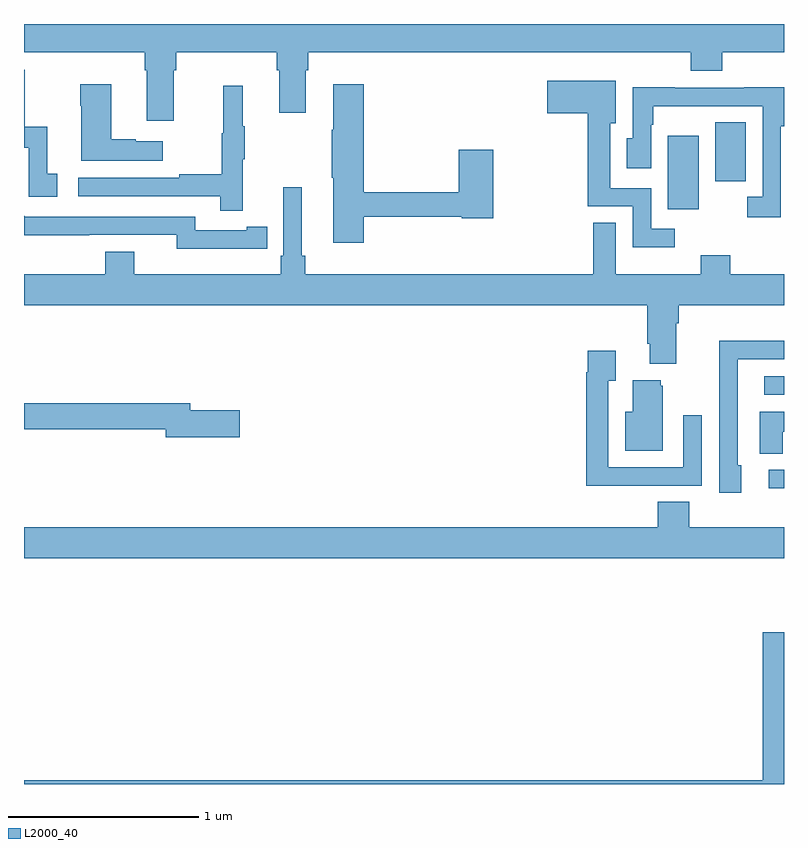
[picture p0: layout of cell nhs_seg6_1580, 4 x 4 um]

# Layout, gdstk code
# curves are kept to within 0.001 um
import gdstk
lib = gdstk.Library(unit=1e-6, precision=1e-09)
def R(c, l, rs):  # rectangles x0, y0, x1, y1
    for r in rs: c.add(gdstk.rectangle(r[:2], r[2:], *l))
def P(c, l, *ps):  # polygons
    for p in ps: c.add(gdstk.Polygon(p, *l))
L2000_40 = (2000, 40)

nhs_seg6_1580 = lib.new_cell('nhs_seg6_1580')
R(nhs_seg6_1580, L2000_40, [(210.921,929.057,211,929.154), (210.897,929.55,211,929.646), (210.389,930.524,210.55,930.913), (210.638,930.672,210.799,930.983)])
P(nhs_seg6_1580, L2000_40, [(207.787,931.256),(207.8,931.256),(207.8,931.352),(208.331,931.352),(208.331,931.256),(208.343,931.256),(208.343,931.032),(208.483,931.032),(208.483,931.256),(208.496,931.256),(208.496,931.352),(210.509,931.352),(210.509,931.253),(210.674,931.253),(210.674,931.352),(211,931.352),(211,931.5),(207,931.5),(207,931.352),(207.635,931.352),(207.635,931.256),(207.647,931.256),(207.647,930.99),(207.787,930.99)],
  [(207.175,930.711),(207.122,930.711),(207.122,930.958),(207.004,930.958),(207.004,931.26),(207,931.26),(207,930.849),(207.024,930.849),(207.024,930.591),(207.175,930.591)],
  [(210.424,930.423),(210.3,930.423),(210.3,930.636),(210.085,930.636),(210.085,930.977),(210.115,930.977),(210.115,931.201),(209.754,931.201),(209.754,931.031),(209.967,931.031),(209.967,930.54),(210.204,930.54),(210.204,930.326),(210.424,930.326)],
  [(207.73,930.883),(207.587,930.883),(207.587,930.893),(207.46,930.893),(207.46,931.183),(207.295,931.183),(207.295,931.07),(207.302,931.07),(207.302,930.779),(207.73,930.779)],
  [(208.787,930.486),(209.304,930.486),(209.304,930.478),(209.471,930.478),(209.471,930.838),(209.288,930.838),(209.288,930.614),(208.787,930.614),(208.787,931.183),(208.628,931.183),(208.628,930.944),(208.621,930.944),(208.621,930.691),(208.628,930.691),(208.628,930.348),(208.787,930.348)],
  [(208.151,930.787),(208.162,930.787),(208.162,930.961),(208.151,930.961),(208.151,931.174),(208.048,931.174),(208.048,930.924),(208.041,930.924),(208.041,930.71),(207.817,930.71),(207.817,930.69),(207.285,930.69),(207.285,930.594),(208.033,930.594),(208.033,930.516),(208.151,930.516)],
  [(210.984,930.962),(211,930.962),(211,931.166),(210.791,931.166),(210.791,931.164),(210.425,931.164),(210.425,931.166),(210.204,931.166),(210.204,930.9),(210.173,930.9),(210.173,930.741),(210.3,930.741),(210.3,930.971),(210.313,930.971),(210.313,931.067),(210.542,931.067),(210.542,931.068),(210.888,931.068),(210.888,930.591),(210.807,930.591),(210.807,930.483),(210.984,930.483)],
  [(210.433,929.924),(210.446,929.924),(210.446,930.02),(211,930.02),(211,930.184),(210.717,930.184),(210.717,930.283),(210.562,930.283),(210.562,930.184),(210.115,930.184),(210.115,930.455),(209.997,930.455),(209.997,930.184),(208.481,930.184),(208.481,930.28),(208.462,930.28),(208.462,930.64),(208.365,930.64),(208.365,930.28),(208.352,930.28),(208.352,930.184),(207.58,930.184),(207.58,930.301),(207.428,930.301),(207.428,930.184),(207,930.184),(207,930.02),(210.281,930.02),(210.281,929.818),(210.293,929.818),(210.293,929.711),(210.433,929.711)],
  [(208.172,930.318),(208.28,930.318),(208.28,930.434),(208.172,930.434),(208.172,930.414),(207.9,930.414),(207.9,930.486),(207.006,930.486),(207,930.492),(207,930.389),(207.804,930.39),(207.804,930.317)],
  [(210.775,929.178),(210.756,929.178),(210.756,929.736),(211,929.736),(211,929.834),(210.658,929.834),(210.658,929.527),(210.66,929.527),(210.66,929.034),(210.775,929.034)],
  [(210.251,929.07),(210.567,929.07),(210.567,929.44),(210.471,929.44),(210.471,929.166),(210.075,929.166),(210.075,929.623),(210.115,929.623),(210.115,929.779),(209.967,929.779),(209.967,929.666),(209.959,929.666),(209.959,929.069),(210.251,929.069)],
  [(210.361,929.595),(210.35,929.595),(210.35,929.626),(210.203,929.626),(210.203,929.458),(210.164,929.458),(210.164,929.255),(210.361,929.255)],
  [(208.135,929.468),(207.874,929.468),(207.874,929.504),(207,929.504),(207,929.368),(207.746,929.368),(207.746,929.326),(208.135,929.326)],
  [(210.993,929.354),(211,929.354),(211,929.458),(210.872,929.458),(210.872,929.239),(210.993,929.239)],
  [(211,928.852),(210.5,928.852),(210.5,928.985),(210.335,928.985),(210.335,928.852),(207,928.852),(207,928.688),(211,928.688)],
  [(211,928.3),(210.887,928.3),(210.887,927.52),(207,927.52),(207,927.5),(211,927.5)])

lib.write_gds('nhs_seg6_1580.gds')
